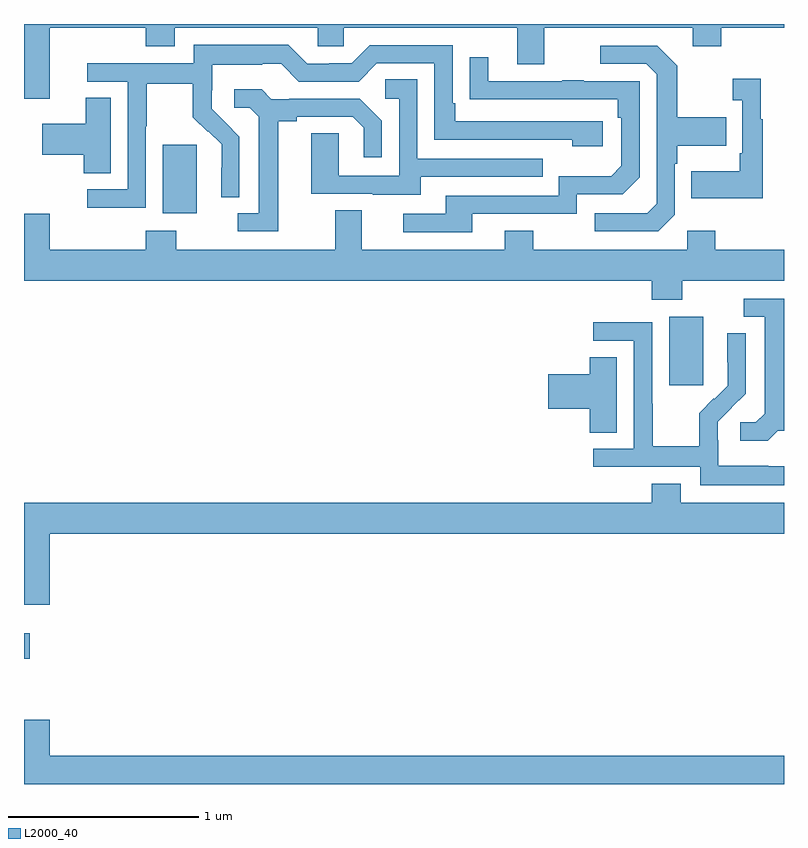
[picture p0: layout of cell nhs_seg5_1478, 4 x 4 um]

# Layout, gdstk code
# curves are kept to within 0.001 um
import gdstk
lib = gdstk.Library(unit=1e-6, precision=1e-09)
def R(c, l, rs):  # rectangles x0, y0, x1, y1
    for r in rs: c.add(gdstk.rectangle(r[:2], r[2:], *l))
def P(c, l, *ps):  # polygons
    for p in ps: c.add(gdstk.Polygon(p, *l))
L2000_40 = (2000, 40)

nhs_seg5_1478 = lib.new_cell('nhs_seg5_1478')
R(nhs_seg5_1478, L2000_40, [(201,833.459,201.031,833.593), (204.395,834.897,204.574,835.258), (201.731,835.802,201.91,836.163)])
P(nhs_seg5_1478, L2000_40, [(201.136,836.78),(201.641,836.78),(201.641,836.681),(201.793,836.681),(201.793,836.78),(202.545,836.78),(202.545,836.682),(202.683,836.682),(202.683,836.78),(203.597,836.78),(203.597,836.586),(203.737,836.586),(203.737,836.78),(204.521,836.78),(204.521,836.681),(204.669,836.681),(204.669,836.78),(205,836.78),(205,836.799),(201,836.799),(201,836.406),(201.136,836.406)],
  [(201.642,836.26),(201.645,836.26),(201.645,836.484),(201.889,836.484),(201.889,836.309),(201.966,836.232),(201.969,836.235),(202.04,836.165),(202.04,836.042),(202.038,836.042),(202.038,835.888),(202.134,835.888),(202.134,836.206),(201.988,836.354),(201.988,836.451),(201.99,836.451),(201.99,836.585),(202.253,836.585),(202.253,836.589),(202.353,836.589),(202.446,836.496),(202.761,836.496),(202.857,836.592),(203.16,836.592),(203.16,836.19),(203.885,836.19),(203.885,836.156),(204.046,836.156),(204.046,836.286),(203.269,836.286),(203.269,836.383),(203.256,836.383),(203.256,836.688),(202.821,836.688),(202.725,836.592),(202.607,836.592),(202.607,836.589),(202.491,836.589),(202.391,836.689),(201.894,836.689),(201.894,836.592),(201.333,836.592),(201.333,836.496),(201.546,836.496),(201.546,835.929),(201.333,835.929),(201.333,835.831),(201.642,835.831)],
  [(204.426,835.794),(204.426,836.063),(204.439,836.063),(204.439,836.159),(204.695,836.159),(204.695,836.307),(204.439,836.307),(204.439,836.579),(204.333,836.685),(204.033,836.685),(204.033,836.589),(204.276,836.589),(204.33,836.535),(204.33,835.854),(204.279,835.803),(204.003,835.803),(204.003,835.707),(204.339,835.707)],
  [(203.359,835.8),(203.91,835.8),(203.91,835.902),(204.15,835.902),(204.24,835.992),(204.24,836.499),(203.945,836.499),(203.945,836.504),(203.833,836.504),(203.833,836.499),(203.443,836.499),(203.443,836.623),(203.347,836.623),(203.347,836.404),(204.124,836.403),(204.124,836.306),(204.144,836.306),(204.144,836.052),(204.091,835.999),(203.814,835.999),(203.814,835.896),(203.219,835.896),(203.219,835.8),(202.995,835.8),(202.995,835.704),(203.359,835.704)],
  [(204.889,836.299),(204.877,836.299),(204.877,836.512),(204.729,836.512),(204.729,836.399),(204.78,836.399),(204.78,836.119),(204.768,836.119),(204.768,836.023),(204.511,836.023),(204.511,835.883),(204.889,835.883)],
  [(203.089,835.995),(203.729,835.995),(203.729,836.091),(203.07,836.091),(203.07,836.507),(202.902,836.507),(202.902,836.406),(202.974,836.406),(202.974,836.001),(202.656,836.001),(202.656,836.225),(202.511,836.225),(202.511,835.905),(202.835,835.905),(202.835,835.901),(203.089,835.901)],
  [(202.339,836.288),(202.435,836.288),(202.435,836.31),(202.73,836.31),(202.787,836.253),(202.787,836.097),(202.884,836.097),(202.884,836.29),(202.768,836.406),(202.396,836.406),(202.396,836.403),(202.302,836.403),(202.25,836.455),(202.107,836.455),(202.107,836.358),(202.188,836.358),(202.235,836.311),(202.235,835.803),(202.125,835.803),(202.125,835.707),(202.339,835.707)],
  [(201.457,836.411),(201.326,836.411),(201.326,836.275),(201.096,836.275),(201.096,836.11),(201.314,836.11),(201.314,836.014),(201.457,836.014)],
  [(204.465,835.448),(205,835.448),(205,835.612),(204.639,835.612),(204.639,835.711),(204.492,835.711),(204.492,835.612),(203.679,835.612),(203.679,835.711),(203.531,835.711),(203.531,835.612),(202.777,835.612),(202.777,835.82),(202.637,835.82),(202.637,835.612),(201.801,835.612),(201.801,835.711),(201.641,835.711),(201.641,835.612),(201.136,835.612),(201.136,835.801),(201,835.801),(201,835.448),(204.305,835.448),(204.305,835.349),(204.465,835.349)],
  [(204.966,834.657),(205,834.657),(205,835.353),(204.789,835.353),(204.789,835.257),(204.899,835.257),(204.899,834.749),(204.852,834.702),(204.771,834.702),(204.771,834.605),(204.914,834.605)],
  [(205,834.471),(204.917,834.471),(204.917,834.475),(204.654,834.475),(204.654,834.609),(204.652,834.609),(204.652,834.706),(204.798,834.854),(204.798,835.172),(204.702,835.172),(204.702,835.018),(204.704,835.018),(204.704,834.896),(204.633,834.825),(204.63,834.828),(204.553,834.751),(204.553,834.577),(204.309,834.577),(204.309,834.8),(204.306,834.8),(204.306,835.23),(203.997,835.23),(203.997,835.131),(204.21,835.131),(204.21,834.564),(203.997,834.564),(203.997,834.468),(204.558,834.468),(204.558,834.371),(205,834.371)],
  [(204.121,835.046),(203.978,835.046),(203.978,834.956),(203.76,834.956),(203.76,834.773),(203.978,834.773),(203.978,834.649),(204.121,834.649)],
  [(201.136,834.116),(205,834.116),(205,834.28),(204.457,834.28),(204.457,834.379),(204.305,834.379),(204.305,834.28),(201,834.28),(201,833.742),(201.136,833.742)],
  [(205,832.948),(201.136,832.948),(201.136,833.137),(201,833.137),(201,832.799),(205,832.799)])

lib.write_gds('nhs_seg5_1478.gds')
